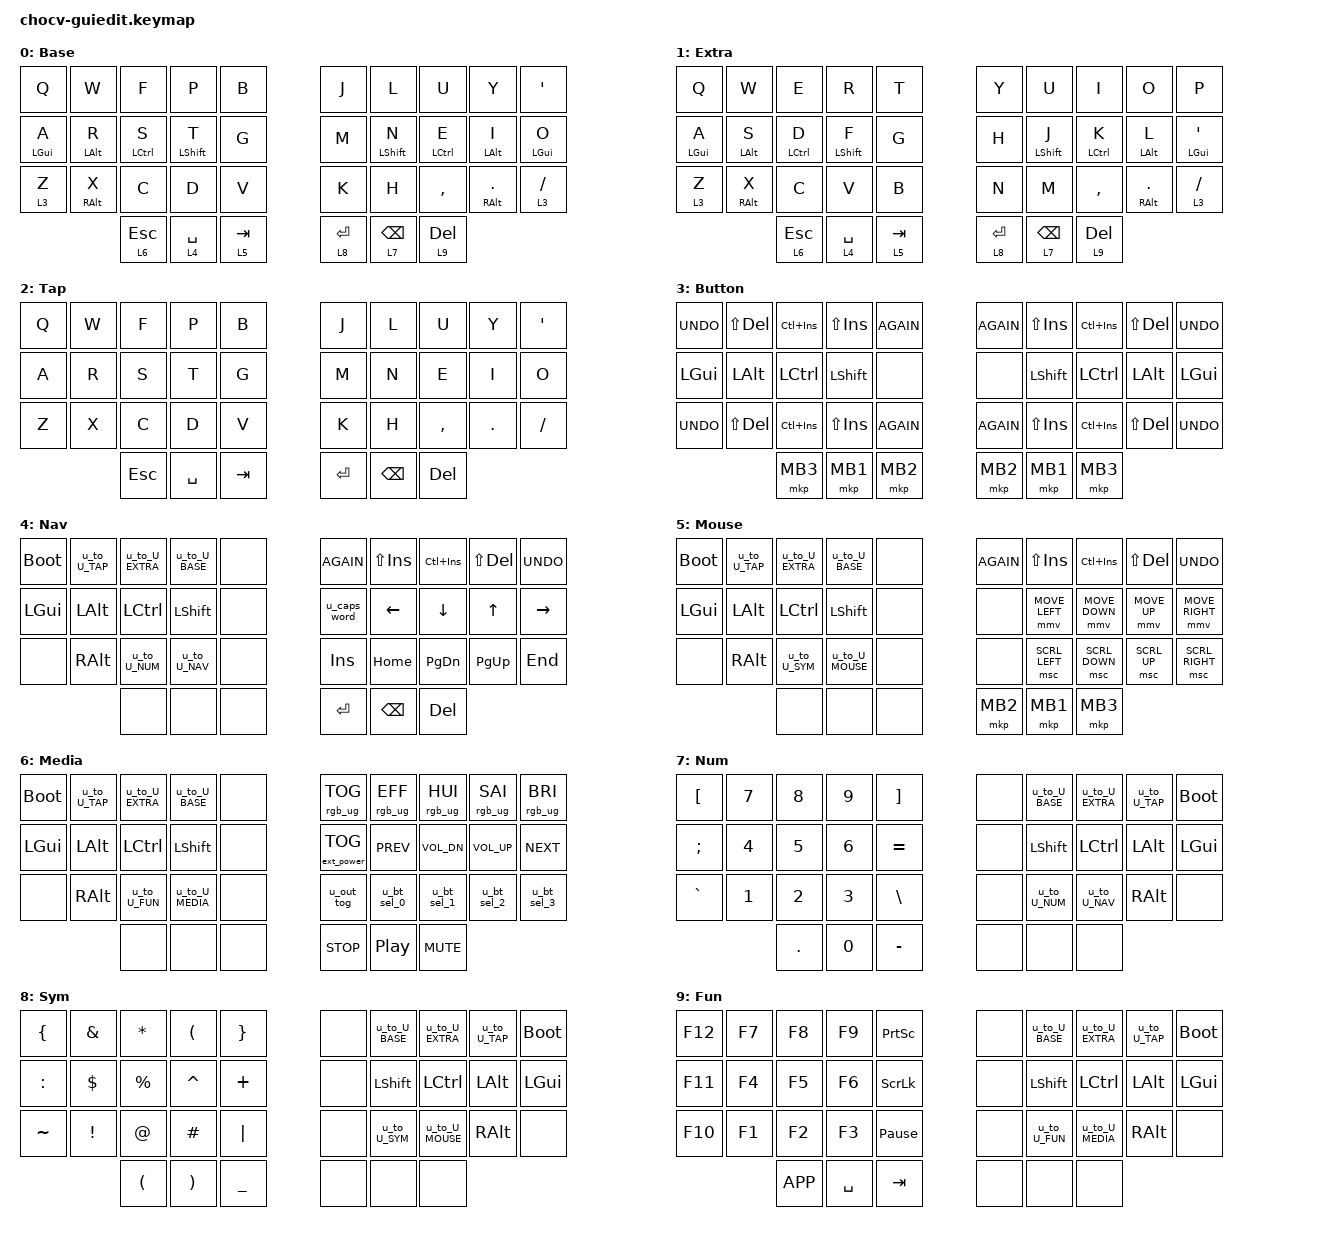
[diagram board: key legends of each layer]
#include "../miryoku/custom_config.h"
#include <behaviors/mouse_keys.dtsi>
#include <behaviors.dtsi>
#include <dt-bindings/zmk/bt.h>
#include <dt-bindings/zmk/ext_power.h>
#include <dt-bindings/zmk/keys.h>
#include <dt-bindings/zmk/outputs.h>
#include <dt-bindings/zmk/pointing.h>
#include <dt-bindings/zmk/rgb.h>

/ {
    keymap {
        compatible = "zmk,keymap";

        BASE {
            display-name = "Base";
            bindings = <
&kp Q         &kp W         &kp F          &kp P          &kp B          &kp J        &kp L          &kp U          &kp Y           &kp SQT
&u_mt LGUI A  &u_mt LALT R  &u_mt LCTRL S  &u_mt LSHFT T  &kp G          &kp M        &u_mt LSHFT N  &u_mt LCTRL E  &u_mt LALT I    &u_mt LGUI O
&u_lt 3 Z     &u_mt RALT X  &kp C          &kp D          &kp V          &kp K        &kp H          &kp COMMA      &u_mt RALT DOT  &u_lt 3 SLASH
                            &u_lt 6 ESC    &u_lt 4 SPACE  &u_lt 5 TAB    &u_lt 8 RET  &u_lt 7 BSPC   &u_lt 9 DEL
            >;
        };

        EXTRA {
            display-name = "Extra";
            bindings = <
&kp Q         &kp W         &kp E          &kp R          &kp T          &kp Y        &kp U          &kp I          &kp O           &kp P
&u_mt LGUI A  &u_mt LALT S  &u_mt LCTRL D  &u_mt LSHFT F  &kp G          &kp H        &u_mt LSHFT J  &u_mt LCTRL K  &u_mt LALT L    &u_mt LGUI SQT
&u_lt 3 Z     &u_mt RALT X  &kp C          &kp V          &kp B          &kp N        &kp M          &kp COMMA      &u_mt RALT DOT  &u_lt 3 SLASH
                            &u_lt 6 ESC    &u_lt 4 SPACE  &u_lt 5 TAB    &u_lt 8 RET  &u_lt 7 BSPC   &u_lt 9 DEL
            >;
        };

        TAP {
            display-name = "Tap";
            bindings = <
&kp Q  &kp W  &kp F    &kp P      &kp B      &kp J    &kp L     &kp U      &kp Y    &kp SQT
&kp A  &kp R  &kp S    &kp T      &kp G      &kp M    &kp N     &kp E      &kp I    &kp O
&kp Z  &kp X  &kp C    &kp D      &kp V      &kp K    &kp H     &kp COMMA  &kp DOT  &kp SLASH
              &kp ESC  &kp SPACE  &kp TAB    &kp RET  &kp BSPC  &kp DEL
            >;
        };

        BUTTON {
            display-name = "Button";
            bindings = <
&kp K_UNDO  &kp LS(DEL)  &kp LC(INS)  &kp LS(INS)  &kp K_AGAIN    &kp K_AGAIN  &kp LS(INS)  &kp LC(INS)  &kp LS(DEL)  &kp K_UNDO
&kp LGUI    &kp LALT     &kp LCTRL    &kp LSHFT    &none          &none        &kp LSHFT    &kp LCTRL    &kp LALT     &kp LGUI
&kp K_UNDO  &kp LS(DEL)  &kp LC(INS)  &kp LS(INS)  &kp K_AGAIN    &kp K_AGAIN  &kp LS(INS)  &kp LC(INS)  &kp LS(DEL)  &kp K_UNDO
                         &mkp MB3     &mkp MB1     &mkp MB2       &mkp MB2     &mkp MB1     &mkp MB3
            >;
        };

        NAV {
            display-name = "Nav";
            bindings = <
&bootloader  &u_to_U_TAP  &u_to_U_EXTRA  &u_to_U_BASE  &none    &kp K_AGAIN   &kp LS(INS)  &kp LC(INS)  &kp LS(DEL)  &kp K_UNDO
&kp LGUI     &kp LALT     &kp LCTRL      &kp LSHFT     &none    &u_caps_word  &kp LEFT     &kp DOWN     &kp UP       &kp RIGHT
&none        &kp RALT     &u_to_U_NUM    &u_to_U_NAV   &none    &kp INS       &kp HOME     &kp PG_DN    &kp PG_UP    &kp END
                          &none          &none         &none    &kp RET       &kp BSPC     &kp DEL
            >;
        };

        MOUSE {
            display-name = "Mouse";
            bindings = <
&bootloader  &u_to_U_TAP  &u_to_U_EXTRA  &u_to_U_BASE   &none    &kp K_AGAIN  &kp LS(INS)     &kp LC(INS)     &kp LS(DEL)   &kp K_UNDO
&kp LGUI     &kp LALT     &kp LCTRL      &kp LSHFT      &none    &none        &mmv MOVE_LEFT  &mmv MOVE_DOWN  &mmv MOVE_UP  &mmv MOVE_RIGHT
&none        &kp RALT     &u_to_U_SYM    &u_to_U_MOUSE  &none    &none        &msc SCRL_LEFT  &msc SCRL_DOWN  &msc SCRL_UP  &msc SCRL_RIGHT
                          &none          &none          &none    &mkp MB2     &mkp MB1        &mkp MB3
            >;
        };

        MEDIA {
            display-name = "Media";
            bindings = <
&bootloader  &u_to_U_TAP  &u_to_U_EXTRA  &u_to_U_BASE   &none    &rgb_ug RGB_TOG    &rgb_ug RGB_EFF  &rgb_ug RGB_HUI  &rgb_ug RGB_SAI  &rgb_ug RGB_BRI
&kp LGUI     &kp LALT     &kp LCTRL      &kp LSHFT      &none    &ext_power EP_TOG  &kp C_PREV       &kp C_VOL_DN     &kp C_VOL_UP     &kp C_NEXT
&none        &kp RALT     &u_to_U_FUN    &u_to_U_MEDIA  &none    &u_out_tog         &u_bt_sel_0      &u_bt_sel_1      &u_bt_sel_2      &u_bt_sel_3
                          &none          &none          &none    &kp C_STOP         &kp C_PP         &kp C_MUTE
            >;
        };

        NUM {
            display-name = "Num";
            bindings = <
&kp LBKT   &kp N7  &kp N8   &kp N9  &kp RBKT     &none  &u_to_U_BASE  &u_to_U_EXTRA  &u_to_U_TAP  &bootloader
&kp SEMI   &kp N4  &kp N5   &kp N6  &kp EQUAL    &none  &kp LSHFT     &kp LCTRL      &kp LALT     &kp LGUI
&kp GRAVE  &kp N1  &kp N2   &kp N3  &kp BSLH     &none  &u_to_U_NUM   &u_to_U_NAV    &kp RALT     &none
                   &kp DOT  &kp N0  &kp MINUS    &none  &none         &none
            >;
        };

        SYM {
            display-name = "Sym";
            bindings = <
&kp LBRC   &kp AMPS  &kp ASTRK  &kp LPAR   &kp RBRC     &none  &u_to_U_BASE  &u_to_U_EXTRA  &u_to_U_TAP  &bootloader
&kp COLON  &kp DLLR  &kp PRCNT  &kp CARET  &kp PLUS     &none  &kp LSHFT     &kp LCTRL      &kp LALT     &kp LGUI
&kp TILDE  &kp EXCL  &kp AT     &kp HASH   &kp PIPE     &none  &u_to_U_SYM   &u_to_U_MOUSE  &kp RALT     &none
                     &kp LPAR   &kp RPAR   &kp UNDER    &none  &none         &none
            >;
        };

        FUN {
            display-name = "Fun";
            bindings = <
&kp F12  &kp F7  &kp F8     &kp F9     &kp PSCRN          &none  &u_to_U_BASE  &u_to_U_EXTRA  &u_to_U_TAP  &bootloader
&kp F11  &kp F4  &kp F5     &kp F6     &kp SLCK           &none  &kp LSHFT     &kp LCTRL      &kp LALT     &kp LGUI
&kp F10  &kp F1  &kp F2     &kp F3     &kp PAUSE_BREAK    &none  &u_to_U_FUN   &u_to_U_MEDIA  &kp RALT     &none
                 &kp K_APP  &kp SPACE  &kp TAB            &none  &none         &none
            >;
        };
    };
};

/ {
    macros {
        u_macro_u_bt_sel_0: u_macro_u_bt_sel_0 {
            compatible = "zmk,behavior-macro";
            #binding-cells = <0>;
            wait-ms = <0>;
            bindings = <&bt BT_SEL 0 &bt BT_CLR>;
        };
    };
};

/ {
    behaviors {
        u_bt_sel_0: u_bt_sel_0 {
            compatible = "zmk,behavior-mod-morph";
            #binding-cells = <0>;
            bindings = <&bt BT_SEL 0>, <&u_macro_u_bt_sel_0>;

            mods = <(MOD_LSFT|MOD_RSFT)>;
        };
    };
};

/ {
    macros {
        u_macro_u_bt_sel_1: u_macro_u_bt_sel_1 {
            compatible = "zmk,behavior-macro";
            #binding-cells = <0>;
            wait-ms = <0>;
            bindings = <&bt BT_SEL 1 &bt BT_CLR>;
        };
    };
};

/ {
    behaviors {
        u_bt_sel_1: u_bt_sel_1 {
            compatible = "zmk,behavior-mod-morph";
            #binding-cells = <0>;
            bindings = <&bt BT_SEL 1>, <&u_macro_u_bt_sel_1>;

            mods = <(MOD_LSFT|MOD_RSFT)>;
        };
    };
};

/ {
    macros {
        u_macro_u_bt_sel_2: u_macro_u_bt_sel_2 {
            compatible = "zmk,behavior-macro";
            #binding-cells = <0>;
            wait-ms = <0>;
            bindings = <&bt BT_SEL 2 &bt BT_CLR>;
        };
    };
};

/ {
    behaviors {
        u_bt_sel_2: u_bt_sel_2 {
            compatible = "zmk,behavior-mod-morph";
            #binding-cells = <0>;
            bindings = <&bt BT_SEL 2>, <&u_macro_u_bt_sel_2>;

            mods = <(MOD_LSFT|MOD_RSFT)>;
        };
    };
};

/ {
    macros {
        u_macro_u_bt_sel_3: u_macro_u_bt_sel_3 {
            compatible = "zmk,behavior-macro";
            #binding-cells = <0>;
            wait-ms = <0>;
            bindings = <&bt BT_SEL 3 &bt BT_CLR>;
        };
    };
};

/ {
    behaviors {
        u_bt_sel_3: u_bt_sel_3 {
            compatible = "zmk,behavior-mod-morph";
            #binding-cells = <0>;
            bindings = <&bt BT_SEL 3>, <&u_macro_u_bt_sel_3>;

            mods = <(MOD_LSFT|MOD_RSFT)>;
        };
    };
};

/ {
    macros {
        u_macro_u_bt_sel_4: u_macro_u_bt_sel_4 {
            compatible = "zmk,behavior-macro";
            #binding-cells = <0>;
            wait-ms = <0>;
            bindings = <&bt BT_SEL 4 &bt BT_CLR>;
        };
    };
};

/ {
    behaviors {
        u_bt_sel_4: u_bt_sel_4 {
            compatible = "zmk,behavior-mod-morph";
            #binding-cells = <0>;
            bindings = <&bt BT_SEL 4>, <&u_macro_u_bt_sel_4>;

            mods = <(MOD_LSFT|MOD_RSFT)>;
        };
    };
};

/ {
    behaviors {
        u_out_tog: u_out_tog {
            compatible = "zmk,behavior-mod-morph";
            #binding-cells = <0>;
            bindings = <&out OUT_TOG>, <&out OUT_USB>;

            mods = <(MOD_LSFT|MOD_RSFT)>;
        };
    };
};

/ {
    behaviors {
        u_caps_word: u_caps_word {
            compatible = "zmk,behavior-mod-morph";
            #binding-cells = <0>;
            bindings = <&caps_word>, <&kp CAPS>;

            mods = <(MOD_LSFT|MOD_RSFT)>;
        };
    };
};

/ {
    behaviors {
        u_to_U_BASE: u_to_U_BASE {
            compatible = "zmk,behavior-tap-dance";
            #binding-cells = <0>;
            tapping-term-ms = <200>;
            bindings = <&none>, <&to 0>;
        };
    };
};

/ {
    behaviors {
        u_to_U_EXTRA: u_to_U_EXTRA {
            compatible = "zmk,behavior-tap-dance";
            #binding-cells = <0>;
            tapping-term-ms = <200>;
            bindings = <&none>, <&to 1>;
        };
    };
};

/ {
    behaviors {
        u_to_U_TAP: u_to_U_TAP {
            compatible = "zmk,behavior-tap-dance";
            #binding-cells = <0>;
            tapping-term-ms = <200>;
            bindings = <&none>, <&to 2>;
        };
    };
};

/ {
    behaviors {
        u_to_U_BUTTON: u_to_U_BUTTON {
            compatible = "zmk,behavior-tap-dance";
            #binding-cells = <0>;
            tapping-term-ms = <200>;
            bindings = <&none>, <&to 3>;
        };
    };
};

/ {
    behaviors {
        u_to_U_NAV: u_to_U_NAV {
            compatible = "zmk,behavior-tap-dance";
            #binding-cells = <0>;
            tapping-term-ms = <200>;
            bindings = <&none>, <&to 4>;
        };
    };
};

/ {
    behaviors {
        u_to_U_MOUSE: u_to_U_MOUSE {
            compatible = "zmk,behavior-tap-dance";
            #binding-cells = <0>;
            tapping-term-ms = <200>;
            bindings = <&none>, <&to 5>;
        };
    };
};

/ {
    behaviors {
        u_to_U_MEDIA: u_to_U_MEDIA {
            compatible = "zmk,behavior-tap-dance";
            #binding-cells = <0>;
            tapping-term-ms = <200>;
            bindings = <&none>, <&to 6>;
        };
    };
};

/ {
    behaviors {
        u_to_U_NUM: u_to_U_NUM {
            compatible = "zmk,behavior-tap-dance";
            #binding-cells = <0>;
            tapping-term-ms = <200>;
            bindings = <&none>, <&to 7>;
        };
    };
};

/ {
    behaviors {
        u_to_U_SYM: u_to_U_SYM {
            compatible = "zmk,behavior-tap-dance";
            #binding-cells = <0>;
            tapping-term-ms = <200>;
            bindings = <&none>, <&to 8>;
        };
    };
};

/ {
    behaviors {
        u_to_U_FUN: u_to_U_FUN {
            compatible = "zmk,behavior-tap-dance";
            #binding-cells = <0>;
            tapping-term-ms = <200>;
            bindings = <&none>, <&to 9>;
        };
    };
};

&mmv {
    acceleration-exponent = <1>;
    time-to-max-speed-ms = <1500>;
    delay-ms = <0>;
};

/ {
    behaviors {
        u_mt: u_mt {
            compatible = "zmk,behavior-hold-tap";
            #binding-cells = <2>;
            tapping-term-ms = <200>;
            flavor = "tap-preferred";
            bindings = <&kp>, <&kp>;
        };

        u_lt: u_lt {
            compatible = "zmk,behavior-hold-tap";
            #binding-cells = <2>;
            tapping-term-ms = <200>;
            flavor = "tap-preferred";
            bindings = <&mo>, <&kp>;
        };
    };
};

